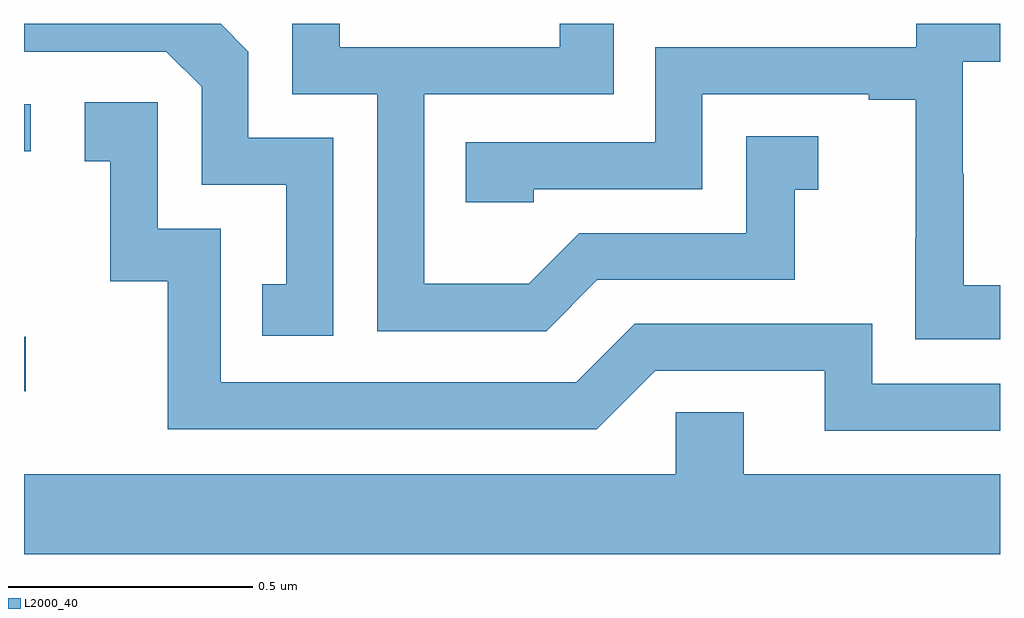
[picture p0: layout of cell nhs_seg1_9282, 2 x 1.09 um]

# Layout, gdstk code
import gdstk
lib = gdstk.Library(unit=1e-6, precision=1e-09)
def R(c, l, rs):  # rectangles x0, y0, x1, y1
    for r in rs: c.add(gdstk.rectangle(r[:2], r[2:], *l))
def P(c, l, *ps):  # polygons
    for p in ps: c.add(gdstk.Polygon(p, *l))
L2000_40 = (2000, 40)

nhs_seg1_9282 = lib.new_cell('nhs_seg1_9282')
R(nhs_seg1_9282, L2000_40, [(227,505.446,227.004,505.558), (227,505.938,227.014,506.034)])
P(nhs_seg1_9282, L2000_40, [(229,505.663),(228.926,505.663),(228.926,505.892),(228.924,505.892),(228.924,506.121),(229,506.121),(229,506.199),(228.828,506.199),(228.828,506.151),(228.294,506.151),(228.294,505.956),(227.905,505.956),(227.905,505.833),(228.045,505.833),(228.045,505.86),(228.39,505.86),(228.39,506.055),(228.731,506.055),(228.731,506.043),(228.827,506.043),(228.827,505.759),(228.826,505.759),(228.826,505.553),(229,505.553)],
  [(227.634,505.965),(227.46,505.965),(227.46,506.142),(227.403,506.199),(227,506.199),(227,506.142),(227.292,506.142),(227.364,506.07),(227.364,505.869),(227.537,505.869),(227.537,505.665),(227.488,505.665),(227.488,505.56),(227.634,505.56)],
  [(228.175,505.674),(228.579,505.674),(228.579,505.859),(228.628,505.859),(228.628,505.969),(228.48,505.969),(228.48,505.77),(228.138,505.77),(228.034,505.666),(227.82,505.666),(227.82,506.055),(228.209,506.055),(228.209,506.199),(228.098,506.199),(228.098,506.151),(227.647,506.151),(227.647,506.199),(227.55,506.199),(227.55,506.055),(227.724,506.055),(227.724,505.569),(228.07,505.569)],
  [(229,505.461),(228.738,505.461),(228.738,505.584),(228.252,505.584),(228.132,505.464),(227.403,505.464),(227.403,505.779),(227.274,505.779),(227.274,506.038),(227.124,506.038),(227.124,505.917),(227.177,505.917),(227.177,505.671),(227.295,505.671),(227.295,505.368),(228.174,505.368),(228.294,505.488),(228.641,505.488),(228.641,505.365),(229,505.365)],
  [(229,505.276),(228.475,505.276),(228.475,505.403),(228.336,505.403),(228.336,505.276),(227,505.276),(227,505.112),(229,505.112)])

lib.write_gds('nhs_seg1_9282.gds')
